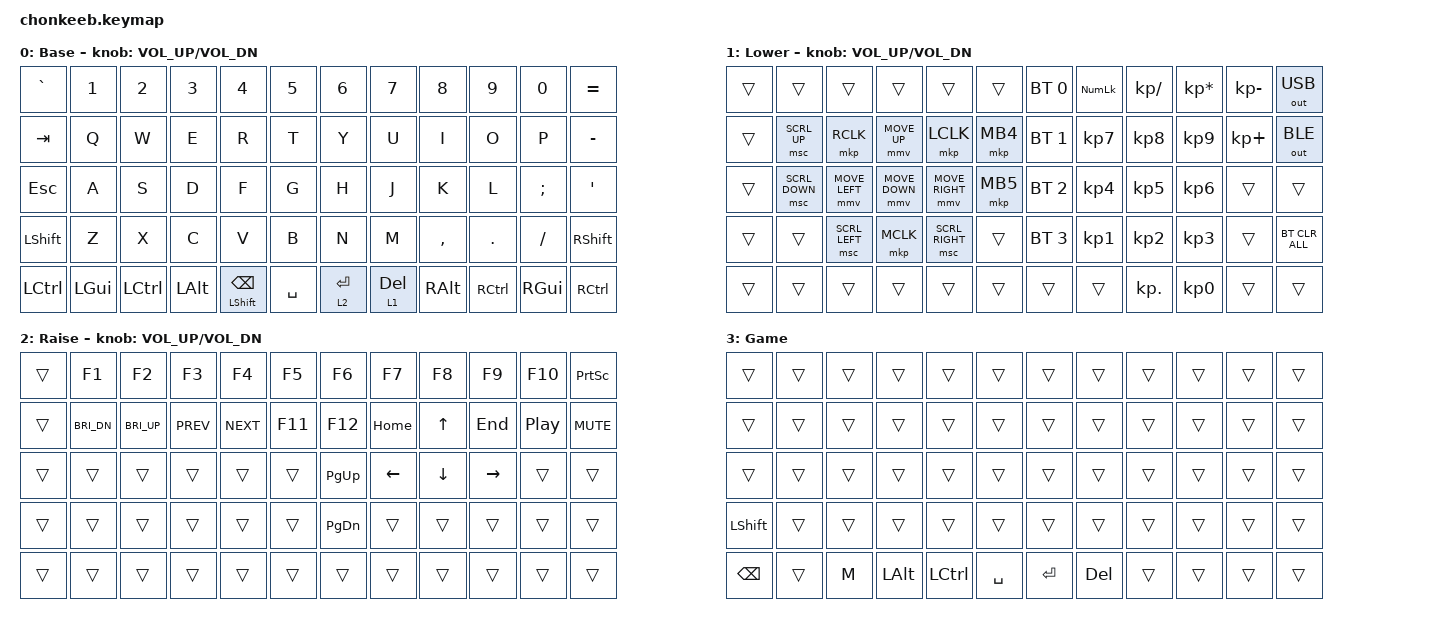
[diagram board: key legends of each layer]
/*
 * Copyright (c) 2020 The ZMK Contributors
 * SPDX-License-Identifier: MIT
 */

#include <dt-bindings/zmk/mouse.h>
#include <behaviors.dtsi>
#include <dt-bindings/zmk/bt.h>
#include <dt-bindings/zmk/keys.h>
#include <dt-bindings/zmk/outputs.h>
#include <dt-bindings/zmk/pointing.h>

/ {
    combos {
        compatible = "zmk,combos";

        to_default {
            bindings = <&to 0>;
            key-positions = <0 1>;
            timeout-ms = <50>;
        };

        tog_game {
            bindings = <&tog 3>;
            key-positions = <0 2>;
            timeout-ms = <50>;
        };

        undo {
            bindings = <&kp LC(Z)>;
            key-positions = <37 38>;
            layers = <0>;
            timeout-ms = <50>;
        };

        cut {
            bindings = <&kp LC(X)>;
            key-positions = <38 39>;
            layers = <0>;
            timeout-ms = <50>;
        };

        copy {
            bindings = <&kp LC(C)>;
            key-positions = <39 40>;
            layers = <0>;
            timeout-ms = <50>;
        };

        paste {
            bindings = <&kp LC(V)>;
            key-positions = <40 41>;
            layers = <0>;
            timeout-ms = <50>;
        };

        caps_word {
            bindings = <&caps_word>;
            key-positions = <53 54>;
            layers = <0>;
            timeout-ms = <50>;
        };

        lbkrt {
            bindings = <&kp LBKT>;
            key-positions = <17 29>;
            layers = <0>;
            timeout-ms = <50>;
        };

        rbrkt {
            bindings = <&kp RBKT>;
            key-positions = <18 30>;
            layers = <0>;
            timeout-ms = <50>;
        };

        lbrace {
            bindings = <&kp LBRC>;
            key-positions = <16 28>;
            layers = <0>;
            timeout-ms = <50>;
        };

        rbrace {
            bindings = <&kp RBRC>;
            key-positions = <19 31>;
            layers = <0>;
            timeout-ms = <50>;
        };

        lessthan {
            bindings = <&kp LT>;
            key-positions = <41 29>;
            layers = <0>;
            timeout-ms = <50>;
        };

        greaterthan {
            bindings = <&kp GT>;
            key-positions = <30 42>;
            layers = <0>;
            timeout-ms = <50>;
        };

        fslash {
            bindings = <&kp FSLH>;
            key-positions = <42 31>;
            layers = <0>;
            timeout-ms = <50>;
        };

        bslash {
            bindings = <&kp BSLH>;
            key-positions = <28 41>;
            layers = <0>;
            timeout-ms = <50>;
        };

        underscore {
            bindings = <&kp UNDER>;
            key-positions = <42 43>;
            layers = <0>;
            timeout-ms = <50>;
        };

        pipe {
            bindings = <&kp PIPE>;
            key-positions = <46 34>;
            layers = <0>;
            timeout-ms = <50>;
        };

        colon {
            bindings = <&kp COLON>;
            key-positions = <30 54>;
            layers = <0>;
            timeout-ms = <50>;
        };

        semicolon {
            bindings = <&kp SEMICOLON>;
            key-positions = <42 54>;
            layers = <0>;
            timeout-ms = <50>;
        };

        dash {
            bindings = <&kp MINUS>;
            key-positions = <30 31>;
            layers = <0>;
            timeout-ms = <50>;
        };

        equals {
            bindings = <&kp EQUAL>;
            key-positions = <18 19>;
            layers = <0>;
            timeout-ms = <50>;
        };

        comma {
            bindings = <&kp COMMA>;
            key-positions = <19 20>;
            layers = <0>;
            timeout-ms = <50>;
        };

        dot {
            bindings = <&kp DOT>;
            key-positions = <31 32>;
            layers = <0>;
            timeout-ms = <50>;
        };

        backspace {
            bindings = <&kp BACKSPACE>;
            key-positions = <10 11>;
        };
    };

    behaviors {
        // Fixed hold-tap behavior

        sft_t: sft_t {
            compatible = "zmk,behavior-hold-tap";
            #binding-cells = <2>;
            bindings = <&kp>, <&kp>;

            tapping-term-ms = <175>;
            quick-tap-ms = <150>;
            require-prior-idle-ms = <125>;
            flavor = "balanced";
        };
    };

    keymap {
        compatible = "zmk,keymap";

        Base {
            bindings = <
&kp GRAVE   &kp N1    &kp N2     &kp N3    &kp N4             &kp N5     &kp N6     &kp N7        &kp N8     &kp N9     &kp N0         &kp EQUAL
&kp TAB     &kp Q     &kp W      &kp E     &kp R              &kp T      &kp Y      &kp U         &kp I      &kp O      &kp P          &kp MINUS
&kp ESC     &kp A     &kp S      &kp D     &kp F              &kp G      &kp H      &kp J         &kp K      &kp L      &kp SEMICOLON  &kp SQT
&kp LSHIFT  &kp Z     &kp X      &kp C     &kp V              &kp B      &kp N      &kp M         &kp COMMA  &kp DOT    &kp FSLH       &kp RSHIFT
&kp LCTRL   &kp LGUI  &kp LCTRL  &kp LALT  &sft_t LSHFT BSPC  &kp SPACE  &lt 2 RET  &lt 1 DELETE  &kp RALT   &kp RCTRL  &kp RGUI       &kp RCTRL
            >;

            sensor-bindings = <&inc_dec_kp C_VOL_UP C_VOL_DN>;
        };

        Lower {
            bindings = <
&trans  &trans          &trans          &trans          &trans           &trans    &bt BT_SEL 0  &kp KP_NUMLOCK  &kp KP_SLASH  &kp KP_MULTIPLY  &kp KP_MINUS  &out OUT_USB
&trans  &msc SCRL_UP    &mkp RCLK       &mmv MOVE_UP    &mkp LCLK        &mkp MB4  &bt BT_SEL 1  &kp KP_N7       &kp KP_N8     &kp KP_N9        &kp KP_PLUS   &out OUT_BLE
&trans  &msc SCRL_DOWN  &mmv MOVE_LEFT  &mmv MOVE_DOWN  &mmv MOVE_RIGHT  &mkp MB5  &bt BT_SEL 2  &kp KP_N4       &kp KP_N5     &kp KP_N6        &trans        &trans
&trans  &trans          &msc SCRL_LEFT  &mkp MCLK       &msc SCRL_RIGHT  &trans    &bt BT_SEL 3  &kp KP_N1       &kp KP_N2     &kp KP_N3        &trans        &bt BT_CLR_ALL
&trans  &trans          &trans          &trans          &trans           &trans    &trans        &trans          &kp KP_DOT    &kp KP_N0        &trans        &trans
            >;

            sensor-bindings = <&inc_dec_kp C_VOL_UP C_VOL_DN>;
        };

        Raise {
            bindings = <
&trans  &kp F1        &kp F2        &kp F3      &kp F4      &kp F5   &kp F6     &kp F7    &kp F8    &kp F9     &kp F10   &kp PSCRN
&trans  &kp C_BRI_DN  &kp C_BRI_UP  &kp C_PREV  &kp C_NEXT  &kp F11  &kp F12    &kp HOME  &kp UP    &kp END    &kp C_PP  &kp C_MUTE
&trans  &trans        &trans        &trans      &trans      &trans   &kp PG_UP  &kp LEFT  &kp DOWN  &kp RIGHT  &trans    &trans
&trans  &trans        &trans        &trans      &trans      &trans   &kp PG_DN  &trans    &trans    &trans     &trans    &trans
&trans  &trans        &trans        &trans      &trans      &trans   &trans     &trans    &trans    &trans     &trans    &trans
            >;

            sensor-bindings = <&inc_dec_kp C_VOL_UP C_VOL_DN>;
        };

        Game {
            bindings = <
&trans      &trans  &trans  &trans    &trans     &trans     &trans   &trans   &trans  &trans  &trans  &trans
&trans      &trans  &trans  &trans    &trans     &trans     &trans   &trans   &trans  &trans  &trans  &trans
&trans      &trans  &trans  &trans    &trans     &trans     &trans   &trans   &trans  &trans  &trans  &trans
&kp LSHIFT  &trans  &trans  &trans    &trans     &trans     &trans   &trans   &trans  &trans  &trans  &trans
&kp BSPC    &trans  &kp M   &kp LALT  &kp LCTRL  &kp SPACE  &kp RET  &kp DEL  &trans  &trans  &trans  &trans
            >;
        };
    };
};

&mmv {
    acceleration-exponent = <1>;
    time-to-max-speed-ms = <300>;
    delay-ms = <0>;
};

&msc {
    acceleration-exponent = <1>;
    time-to-max-speed-ms = <300>;
    delay-ms = <0>;
};
